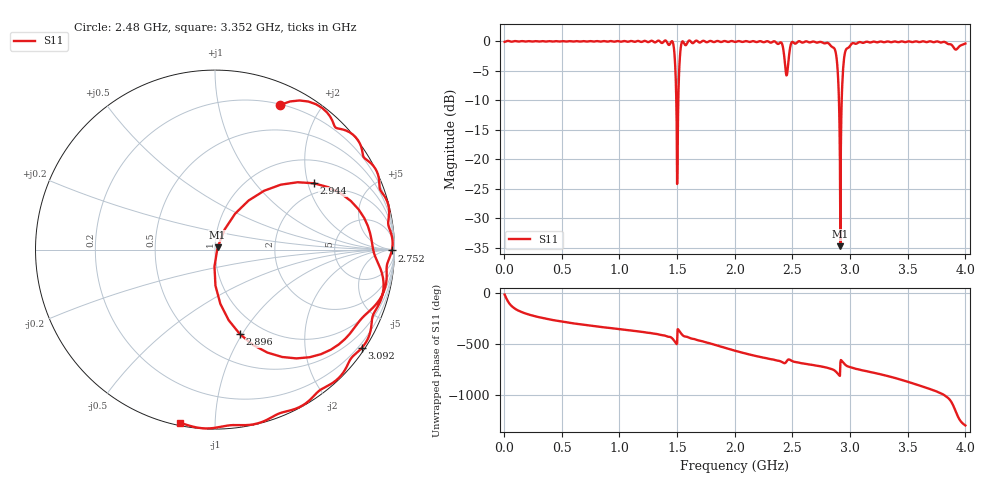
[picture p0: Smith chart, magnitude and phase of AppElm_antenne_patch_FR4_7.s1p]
! TOUCHSTONE file generated by CST MICROWAVE STUDIO
! Date and time: Tue Jun  7 20:03:46 2022
! Project name: AppElm_antenne_patch_FR4.cst
! Parameters = {L=47.25; W=58.5; e=0.035; h=1.6; lambda=0.190476; ls=120; w0=1.6; w1=0.533333; ws=120; y0=20; y1=23.8095}
! Header version: 2018
! Port assignment regex: !\s*Touchstone port\s*([0-9]+)\s*=\s*(CST MWS port|CST DS port)\s*([0-9]+|Zmin|Zmax)\s*\(\"(.*)\"\)(\s*mode\s*([0-9]+))?.*
! Touchstone port assignment:
! Touchstone port 1 = CST MWS port 1 ("")
# GHz S MA R 50
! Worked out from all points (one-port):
!   1000 points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, 4 MHz to 4 GHz, reference 50 ohm
!   lowest |S11| = -34.7 dB at 2.916 GHz (marker M1), VSWR 1.04, Z = 51.4 + j1.2 ohm
!   |S11| at or under -10 dB: 1.493 GHz to 1.51 GHz (17.75 MHz wide, 1.18 % of centre); 2.903 GHz to 2.927 GHz (24.06 MHz wide, 0.825 % of centre)
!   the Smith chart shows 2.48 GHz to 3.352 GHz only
!   S11 on the Smith chart (normalised r, x): 2.48 GHz: 0.21, +1.53; 2.752 GHz: open; 2.896 GHz: 0.79, -0.98; 2.944 GHz: 1.65, +2.17; 3.092 GHz: 0.10, -3.28; 3.352 GHz: 0.01, -0.82
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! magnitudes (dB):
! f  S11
! 4 MHz  -0.1
! 504 MHz  0.0
! 1.004 GHz  0.0
! 1.452 GHz  0.0
! 1.468 GHz  -0.6
! 1.488 GHz  -6.4
! 1.504 GHz  -20.6
! 1.516 GHz  -5.9
! 1.532 GHz  -1.0
! 1.552 GHz  0.0
! 2.004 GHz  -0.1
! 2.396 GHz  -0.2
! 2.448 GHz  -5.8
! 2.48 GHz  -1.1
! 2.504 GHz  -0.1
! 2.752 GHz  -0.1
! 2.868 GHz  -1.4
! 2.888 GHz  -3.8
! 2.896 GHz  -6.2
! 2.916 GHz  -34.7
! 2.932 GHz  -7.4
! 2.944 GHz  -3.6
! 2.964 GHz  -1.4
! 3.004 GHz  -0.6
! 3.092 GHz  -0.1
! 3.352 GHz  -0.1
! 3.504 GHz  0.0
! 4 GHz  -0.4
